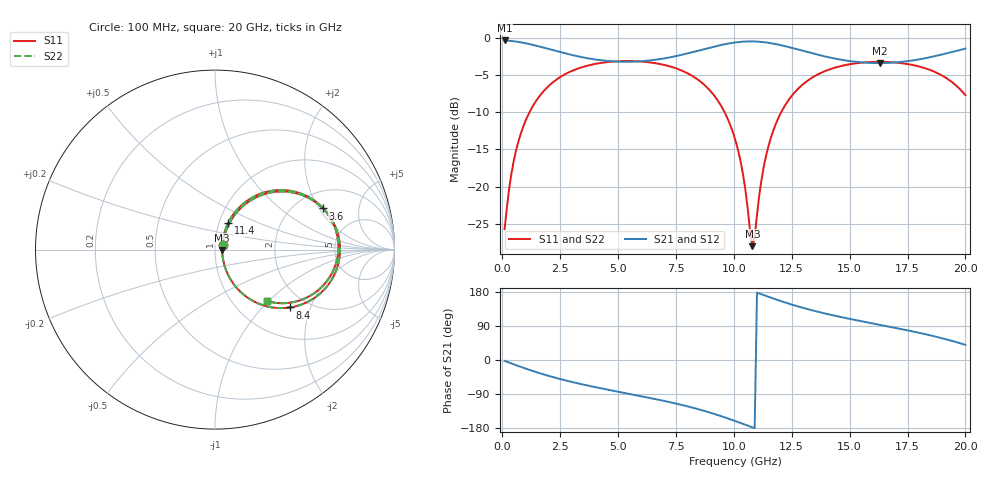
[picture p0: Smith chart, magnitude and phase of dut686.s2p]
! Touchstone file exported from HFSS 2026.1.0
!  File:  C:/ffzhzh/LocalFiles/Ansys_Project_Files/temp_train_TSV_RDL_686_1783134459_46604.aedt
!  Generated:  11:21:24 AM Jul  4, 2026
!  Design:  TSV_RDL
!  Project:  temp_train_TSV_RDL_686_1783134459_46604
! Variables:
!  h_bsmrdl = 2.09um
!  h_ox = 20um
!  h_rdl = 5um
!  h_sub = 65.28um
!  h_tmrdl = 4.11um
!  h_tsv = 65.28um
!  h_via = 3um
!  l_bsmrdl = 672.83um
!  l_sub = 5723.68um
!  l_tmrdl = 805.02um
!  m_sub = 200um
!  pitch = 59.71um
!  r_tsv = 9.6um
!  s_tmrdl = 10um
!  w_bsmrdl = 14.9um
!  w_sub = 500um
!  w_tmrdl = 13.47um
!  x_tsv_center1 = 811.755um
!  x_tsv_center2 = 1499.485um
!  x_tsv_center3 = 2317.975um
!  x_tsv_center4 = 3005.705um
!  x_tsv_center5 = 3824.195um
!  x_tsv_center6 = 4511.925um
# GHz S MA R 50.000000
! Terminal data exported
! Port[1] = TM_RDL1_1_T1
! Port[2] = TM_RDL5_1_T1
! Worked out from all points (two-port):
!   200 points, 100 MHz to 20 GHz, reference 50 ohm
!   highest |S21| = -0.38 dB at 100 MHz (marker M1); lowest = -3.4 dB at 16.3 GHz (marker M2)
!   |S21| within 3 dB of the highest: start of sweep to 15.81 GHz; 16.73 GHz to end of sweep
!   lowest |S11| = -28.0 dB at 10.8 GHz (marker M3), VSWR 1.08, Z = 54.1 - j0.34 ohm
!   |S11| at or under -10 dB: start of sweep to 1.18 GHz; 9.598 GHz to 12.05 GHz (2.451 GHz wide, 22.6 % of centre)
!   |S22| runs from -28.0 to -3.1 dB; largest |S21 - S12| = 1.6e-14
!   S11 on the Smith chart (normalised r, x): 100 MHz: 1.09, +0.06; 3.6 GHz: 2.77, +2.17; 8.4 GHz: 1.63, -1.46; 11.4 GHz: 1.10, +0.33; 20 GHz: 1.43, -0.99
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0.1  0.05177 32.5  0.9571 -2.4  0.9571 -2.4  0.05177 32.5
! Gamma 0 0 0 0
! Port Impedance 50 0 50 0
0.3  0.09776 56.5  0.9526 -7.0  0.9526 -7.0  0.09776 56.5
0.5  0.15 61.1  0.9452 -11.6  0.9452 -11.6  0.15 61.1
1.1  0.2985 56.7  0.91 -24.6  0.91 -24.6  0.2985 56.7
2.2  0.5034 40.0  0.8232 -45.3  0.8232 -45.3  0.5034 40.0
3.5  0.6371 22.2  0.736 -64.9  0.736 -64.9  0.6371 22.1
3.6  0.6436 20.9  0.7309 -66.2  0.7309 -66.2  0.6436 20.9
5.2  0.696 2.3  0.6886 -86.0  0.6886 -86.0  0.696 2.3
6.8  0.6655 -16.0  0.7171 -105.5  0.7171 -105.5  0.6655 -16.0
8.4  0.5287 -37.6  0.8124 -128.8  0.8124 -128.8  0.5287 -37.6
9.4  0.3589 -53.3  0.8888 -147.1  0.8888 -147.1  0.3589 -53.3
10.1  0.1964 -62.3  0.9296 -161.9  0.9296 -161.9  0.1964 -62.3
10.4  0.1199 -61.1  0.9394 -168.6  0.9394 -168.6  0.1199 -61.1
10.8  0.03982 -4.5  0.943 -177.7  0.943 -177.7  0.03977 -4.5
11.4  0.1631 63.7  0.9276 168.9  0.9276 168.9  0.1631 63.7
12.2  0.3485 55.1  0.8773 152.1  0.8773 152.1  0.3484 55.1
13.4  0.541 36.9  0.7835 130.8  0.7835 130.8  0.5409 36.9
14.8  0.6535 18.8  0.7035 111.1  0.7035 111.1  0.6535 18.8
16.3  0.6878 2.0  0.6748 92.9  0.6748 92.9  0.6878 2.0
16.7  0.6851 -2.4  0.6772 88.1  0.6772 88.1  0.6851 -2.4
18.3  0.6201 -21.1  0.7289 67.7  0.7289 67.7  0.6201 -21.1
20  0.4104 -44.5  0.8436 40.0  0.8436 40.0  0.4104 -44.6
